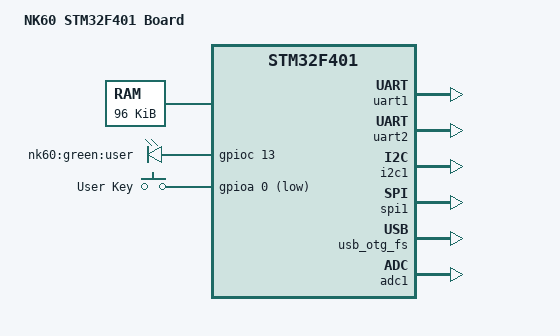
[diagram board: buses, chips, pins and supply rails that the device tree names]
/*
 * Copyright (C) 2023-2024 胡启航<Nick Hu>
 *
 * Author: 胡启航<Nick Hu>
 *
 * Email: huqihan@live.com
 */

/dts-v1/;

/ {
    compatible = "nk60,stm32f401";
    model = "NK60 STM32F401 Board";
    #address-cells = <1>;
    #size-cells = <1>;

    chosen {
        bootargs = "";
    };

    memory@20000000 {
        device_type = "memory";
        reg = <0x20000000 0x18000>;  /* 96KB SRAM */
    };

    flash@08000000 {
        device_type = "flash";
        reg = <0x08000000 0x80000>;  /* 512KB Flash */
    };

    cpus {
        #address-cells = <1>;
        #size-cells = <0>;

        cpu@0 {
            compatible = "arm,cortex-m4";
            device_type = "cpu";
            reg = <0>;
            clock-frequency = <84000000>;  /* 84MHz */
        };
    };

    clocks {
        hse: hse-clock {
            compatible = "fixed-clock";
            #clock-cells = <0>;
            clock-frequency = <25000000>;  /* 25MHz HSE */
        };

        hsi: hsi-clock {
            compatible = "fixed-clock";
            #clock-cells = <0>;
            clock-frequency = <16000000>;  /* 16MHz HSI */
        };
    };

    soc {
        #address-cells = <1>;
        #size-cells = <1>;
        compatible = "simple-bus";
        ranges;

        rcc: rcc@40023800 {
            compatible = "st,stm32f4-rcc";
            reg = <0x40023800 0x400>;
            clocks = <&hse>, <&hsi>;
            clock-names = "hse", "hsi";
        };

        uart1: serial@40011000 {
            compatible = "st,stm32-uart";
            reg = <0x40011000 0x400>;
            interrupts = <37>;
            clocks = <&rcc>;
            status = "okay";
        };

        uart2: serial@40004400 {
            compatible = "st,stm32-uart";
            reg = <0x40004400 0x400>;
            interrupts = <38>;
            clocks = <&rcc>;
            status = "okay";
        };

        i2c1: i2c@40005400 {
            compatible = "st,stm32f4-i2c";
            reg = <0x40005400 0x400>;
            interrupts = <31>, <32>;
            clocks = <&rcc>;
            #address-cells = <1>;
            #size-cells = <0>;
            status = "okay";
        };

        spi1: spi@40013000 {
            compatible = "st,stm32f4-spi";
            reg = <0x40013000 0x400>;
            interrupts = <35>;
            clocks = <&rcc>;
            #address-cells = <1>;
            #size-cells = <0>;
            status = "okay";
        };

        gpioa: gpio@40020000 {
            compatible = "st,stm32f4-gpio";
            reg = <0x40020000 0x400>;
            gpio-controller;
            #gpio-cells = <2>;
        };

        gpiob: gpio@40020400 {
            compatible = "st,stm32f4-gpio";
            reg = <0x40020400 0x400>;
            gpio-controller;
            #gpio-cells = <2>;
        };

        gpioc: gpio@40020800 {
            compatible = "st,stm32f4-gpio";
            reg = <0x40020800 0x400>;
            gpio-controller;
            #gpio-cells = <2>;
        };

        gpiod: gpio@40020C00 {
            compatible = "st,stm32f4-gpio";
            reg = <0x40020C00 0x400>;
            gpio-controller;
            #gpio-cells = <2>;
        };

        gpioe: gpio@40021000 {
            compatible = "st,stm32f4-gpio";
            reg = <0x40021000 0x400>;
            gpio-controller;
            #gpio-cells = <2>;
        };

        gpioh: gpio@40021C00 {
            compatible = "st,stm32f4-gpio";
            reg = <0x40021C00 0x400>;
            gpio-controller;
            #gpio-cells = <2>;
        };

        usb_otg_fs: usb@50000000 {
            compatible = "st,stm32f4-usb-otg";
            reg = <0x50000000 0x40000>;
            interrupts = <67>;
            clocks = <&rcc>;
            status = "okay";
        };

        tim2: timer@40000000 {
            compatible = "st,stm32-timer";
            reg = <0x40000000 0x400>;
            interrupts = <28>;
            clocks = <&rcc>;
        };

        tim3: timer@40000400 {
            compatible = "st,stm32-timer";
            reg = <0x40000400 0x400>;
            interrupts = <29>;
            clocks = <&rcc>;
        };

        tim4: timer@40000800 {
            compatible = "st,stm32-timer";
            reg = <0x40000800 0x400>;
            interrupts = <30>;
            clocks = <&rcc>;
        };

        adc1: adc@40012000 {
            compatible = "st,stm32f4-adc";
            reg = <0x40012000 0x400>;
            interrupts = <18>;
            clocks = <&rcc>;
            #io-channel-cells = <1>;
        };
    };

    leds {
        compatible = "gpio-leds";

        led0 {
            label = "nk60:green:user";
            gpios = <&gpioc 13 0>;
            default-state = "off";
        };
    };

    keys {
        compatible = "gpio-keys";

        key0 {
            label = "User Key";
            gpios = <&gpioa 0 1>;
            linux,code = <28>; /* KEY_ENTER */
        };
    };
};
